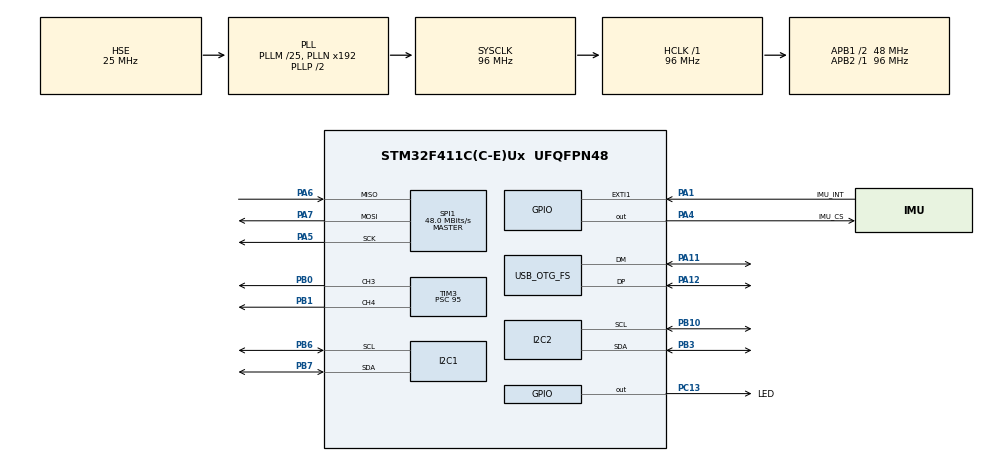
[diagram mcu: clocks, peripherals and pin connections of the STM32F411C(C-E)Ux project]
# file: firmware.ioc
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I2C1.I2C_Mode=I2C_Fast
I2C2.I2C_Mode=I2C_Fast
Mcu.Family=STM32F4
Mcu.Name=STM32F411C(C-E)Ux
Mcu.Package=UFQFPN48
NVIC.EXTI1_IRQn=true\:0\:0\:false\:false\:true\:true\:true\:true
NVIC.OTG_FS_IRQn=true\:0\:0\:false\:false\:true\:false\:true\:true
NVIC.PriorityGroup=NVIC_PRIORITYGROUP_4
NVIC.TIM2_IRQn=true\:0\:0\:false\:false\:true\:true\:true\:true
PA1.GPIO_Label=IMU_INT
PA1.GPIO_ModeDefaultEXTI=GPIO_MODE_IT_RISING
PA1.Signal=GPXTI1
PA11.Mode=Device_Only
PA11.Signal=USB_OTG_FS_DM
PA12.Mode=Device_Only
PA12.Signal=USB_OTG_FS_DP
PA13.Mode=Serial_Wire
PA13.Signal=SYS_JTMS-SWDIO
PA14.Mode=Serial_Wire
PA14.Signal=SYS_JTCK-SWCLK
PA4.GPIO_Label=IMU_CS
PA4.PinState=GPIO_PIN_SET
PA4.Signal=GPIO_Output
PA5.Mode=Full_Duplex_Master
PA5.Signal=SPI1_SCK
PA6.Mode=Full_Duplex_Master
PA6.Signal=SPI1_MISO
PA7.Mode=Full_Duplex_Master
PA7.Signal=SPI1_MOSI
PB0.Signal=S_TIM3_CH3
PB1.Signal=S_TIM3_CH4
PB10.Mode=I2C
PB10.Signal=I2C2_SCL
PB3.Mode=I2C
PB3.Signal=I2C2_SDA
PB6.Mode=I2C
PB6.Signal=I2C1_SCL
PB7.Mode=I2C
PB7.Signal=I2C1_SDA
PC13-ANTI_TAMP.GPIO_Label=LED
PC13-ANTI_TAMP.PinState=GPIO_PIN_SET
PC13-ANTI_TAMP.Signal=GPIO_Output
PH0\ -\ OSC_IN.Mode=HSE-External-Oscillator
PH0\ -\ OSC_IN.Signal=RCC_OSC_IN
PH1\ -\ OSC_OUT.Mode=HSE-External-Oscillator
PH1\ -\ OSC_OUT.Signal=RCC_OSC_OUT
ProjectManager.HeapSize=0x200
ProjectManager.StackSize=0x400
ProjectManager.TargetToolchain=STM32CubeIDE
RCC.48MHZClocksFreq_Value=48000000
RCC.AHBFreq_Value=96000000
RCC.APB1CLKDivider=RCC_HCLK_DIV2
RCC.APB1Freq_Value=48000000
RCC.APB1TimFreq_Value=96000000
RCC.APB2Freq_Value=96000000
RCC.APB2TimFreq_Value=96000000
RCC.CortexFreq_Value=96000000
RCC.HCLKFreq_Value=96000000
RCC.HSE_VALUE=25000000
RCC.HSI_VALUE=16000000
RCC.LSE_VALUE=32768
RCC.PLLM=25
RCC.SYSCLKFreq_VALUE=96000000
RCC.SYSCLKSource=RCC_SYSCLKSOURCE_PLLCLK
RCC.VCOOutputFreq_Value=192000000
SH.S_TIM3_CH3.0=TIM3_CH3,PWM Generation3 CH3
SH.S_TIM3_CH4.0=TIM3_CH4,PWM Generation4 CH4
SPI1.CalculateBaudRate=48.0 MBits/s
SPI1.Direction=SPI_DIRECTION_2LINES
SPI1.Mode=SPI_MODE_MASTER
SPI1.VirtualType=VM_MASTER
TIM3.AutoReloadPreload=TIM_AUTORELOAD_PRELOAD_ENABLE
TIM3.Channel-PWM\ Generation3\ CH3=TIM_CHANNEL_3
TIM3.Channel-PWM\ Generation4\ CH4=TIM_CHANNEL_4
TIM3.Period=2499
TIM3.Prescaler=95
USB_DEVICE.CLASS_NAME_FS=CDC
USB_DEVICE.VirtualMode=Cdc
USB_DEVICE.VirtualModeFS=Cdc_FS
USB_OTG_FS.VirtualMode=Device_Only
VP_TIM2_VS_ClockSourceINT.Mode=Internal
VP_TIM3_VS_ClockSourceINT.Mode=Internal
VP_USB_DEVICE_VS_USB_DEVICE_CDC_FS.Mode=CDC_FS
board=custom

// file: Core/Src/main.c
/* USER CODE BEGIN Header */
/**
  ******************************************************************************
  * @file           : main.c
  * @brief          : Main program body
  ******************************************************************************
  * @attention
  *
  * Copyright (c) 2026 STMicroelectronics.
  * All rights reserved.
  *
  * This software is licensed under terms that can be found in the LICENSE file
  * in the root directory of this software component.
  * If no LICENSE file comes with this software, it is provided AS-IS.
  *
  ******************************************************************************
  */
/* USER CODE END Header */
#include "main.h"
#include "i2c.h"
#include "spi.h"
#include "tim.h"
#include "usb_device.h"
#include "gpio.h"

/* USER CODE BEGIN Includes */
#include "usbd_cdc_if.h"
#include<stdio.h>
#include <math.h>
#include <string.h>
#include "esc.h"

/* USER CODE END Includes */

/* USER CODE BEGIN PD */
#define AS5600_ADDR (0x36 << 1)
#define AS5600_RAW_ANGLE_H 0x0C
/* USER CODE END PD */

void SystemClock_Config(void);

int main(void)
{

  /* MCU Configuration--------------------------------------------------------*/

  /* Reset of all peripherals, Initializes the Flash interface and the Systick. */
  HAL_Init();

  /* Configure the system clock */
  SystemClock_Config();

  /* Initialize all configured peripherals */
  MX_GPIO_Init();
  MX_USB_DEVICE_Init();
  MX_I2C1_Init();
  MX_I2C2_Init();
  MX_SPI1_Init();
  MX_TIM2_Init();
  MX_TIM3_Init();
  /* USER CODE BEGIN 2 */
  esc_init();                       // start PWM at 1000 us (motor off)
  HAL_Delay(8000);                  // give the ESC 3 s at minimum throttle to arm

  for (uint16_t us = 1000; us <= 1500; us += 5) {
      esc_set_us(us);               // step the throttle up 5 us at a time
      HAL_Delay(50);                // 20 steps x 50 ms = 1 s ramp
  }

  HAL_Delay(3000);                  // hold at 1100 us for 3 s
  esc_set_us(1000);                 // back to minimum = motor stops
  uint32_t last = HAL_GetTick();
  HAL_StatusTypeDef enc_status = HAL_I2C_IsDeviceReady(&hi2c1, AS5600_ADDR, 3, 10);
  /* USER CODE END 2 */

  /* Infinite loop */
  /* USER CODE BEGIN WHILE */
  while (1)
   {
       if (HAL_GetTick() - last >= 10)            // run every 10 ms = 100 Hz
       {
           last += 10;                            // schedule the next sample (no drift)

           uint32_t t = HAL_GetTick();            // time stamp in ms
           int32_t value = -1;                    // -1 means "encoder read failed"

           uint8_t buf[2];                        // 2 bytes from the AS5600
           if (HAL_I2C_Mem_Read(&hi2c1, AS5600_ADDR, AS5600_RAW_ANGLE_H,
                                I2C_MEMADD_SIZE_8BIT, buf, 2, 5) == HAL_OK) // read RAW ANGLE regs 0x0C-0x0D
           {
               value = ((buf[0] & 0x0F) << 8) | buf[1]; // combine into 12-bit angle, 0-4095
           }

           char buff[32];                         // text buffer for one line
           int size = snprintf(buff, sizeof(buff), "%lu,%ld\n", t, value); // format "t,value\n"
           CDC_Transmit_FS((uint8_t*)buff, size); // send over USB to the Python plot

           static uint32_t count = 0;             // keeps its value between loops
           if (++count % (enc_status == HAL_OK ? 50 : 5) == 0) // slow blink = encoder OK, fast = not found
           {
               HAL_GPIO_TogglePin(LED_GPIO_Port, LED_Pin);
           }
       }
    /* USER CODE END WHILE */

  }
}

void SystemClock_Config(void)
{
  RCC_OscInitTypeDef RCC_OscInitStruct = {0};
  RCC_ClkInitTypeDef RCC_ClkInitStruct = {0};

  /** Configure the main internal regulator output voltage
  */
  __HAL_RCC_PWR_CLK_ENABLE();
  __HAL_PWR_VOLTAGESCALING_CONFIG(PWR_REGULATOR_VOLTAGE_SCALE1);

  /** Initializes the RCC Oscillators according to the specified parameters
  * in the RCC_OscInitTypeDef structure.
  */
  RCC_OscInitStruct.OscillatorType = RCC_OSCILLATORTYPE_HSE;
  RCC_OscInitStruct.HSEState = RCC_HSE_ON;
  RCC_OscInitStruct.PLL.PLLState = RCC_PLL_ON;
  RCC_OscInitStruct.PLL.PLLSource = RCC_PLLSOURCE_HSE;
  RCC_OscInitStruct.PLL.PLLM = 25;
  RCC_OscInitStruct.PLL.PLLN = 192;
  RCC_OscInitStruct.PLL.PLLP = RCC_PLLP_DIV2;
  RCC_OscInitStruct.PLL.PLLQ = 4;
  if (HAL_RCC_OscConfig(&RCC_OscInitStruct) != HAL_OK)
  {
    Error_Handler();
  }

  /** Initializes the CPU, AHB and APB buses clocks
  */
  RCC_ClkInitStruct.ClockType = RCC_CLOCKTYPE_HCLK|RCC_CLOCKTYPE_SYSCLK
                              |RCC_CLOCKTYPE_PCLK1|RCC_CLOCKTYPE_PCLK2;
  RCC_ClkInitStruct.SYSCLKSource = RCC_SYSCLKSOURCE_PLLCLK;
  RCC_ClkInitStruct.AHBCLKDivider = RCC_SYSCLK_DIV1;
  RCC_ClkInitStruct.APB1CLKDivider = RCC_HCLK_DIV2;
  RCC_ClkInitStruct.APB2CLKDivider = RCC_HCLK_DIV1;

  if (HAL_RCC_ClockConfig(&RCC_ClkInitStruct, FLASH_LATENCY_3) != HAL_OK)
  {
    Error_Handler();
  }
}

void Error_Handler(void)
{
  __disable_irq();
  while (1)
  {
  }
}
